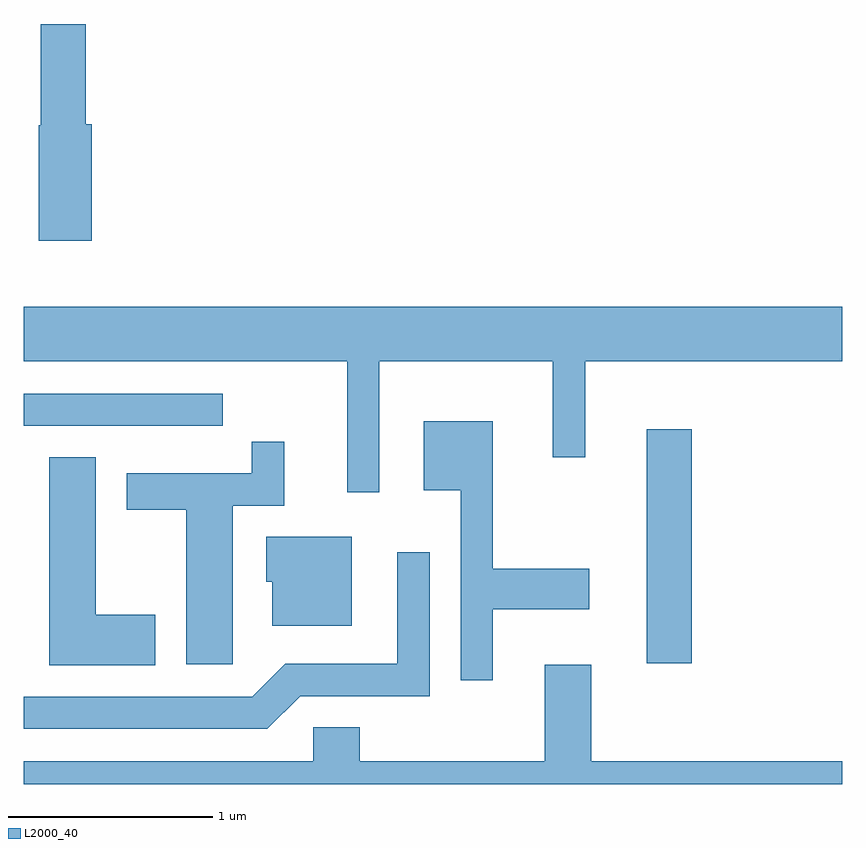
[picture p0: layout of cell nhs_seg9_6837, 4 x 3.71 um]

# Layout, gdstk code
import gdstk
lib = gdstk.Library(unit=1e-6, precision=1e-09)
def R(c, l, rs):  # rectangles x0, y0, x1, y1
    for r in rs: c.add(gdstk.rectangle(r[:2], r[2:], *l))
def P(c, l, *ps):  # polygons
    for p in ps: c.add(gdstk.Polygon(p, *l))
L2000_40 = (2000, 40)

nhs_seg9_6837 = lib.new_cell('nhs_seg9_6837')
R(nhs_seg9_6837, L2000_40, [(390.656,1977.021,390.874,1978.164), (387.611,1978.181,388.583,1978.339)])
P(nhs_seg9_6837, L2000_40, [(387.944,1979.654),(387.914,1979.654),(387.914,1980.144),(387.696,1980.144),(387.696,1979.65),(387.686,1979.65),(387.686,1979.086),(387.944,1979.086)],
  [(389.349,1978.496),(390.196,1978.496),(390.196,1978.028),(390.354,1978.028),(390.354,1978.496),(391.611,1978.496),(391.611,1978.764),(387.611,1978.764),(387.611,1978.496),(389.191,1978.496),(389.191,1977.858),(389.349,1977.858)],
  [(389.904,1977.286),(390.374,1977.286),(390.374,1977.484),(389.904,1977.484),(389.904,1978.204),(389.566,1978.204),(389.566,1977.866),(389.746,1977.866),(389.746,1976.938),(389.904,1976.938)],
  [(388.634,1977.791),(388.884,1977.791),(388.884,1978.103),(388.726,1978.103),(388.726,1977.949),(388.116,1977.949),(388.116,1977.771),(388.406,1977.771),(388.406,1977.016),(388.634,1977.016)],
  [(388.254,1977.259),(387.964,1977.259),(387.964,1978.029),(387.736,1978.029),(387.736,1977.011),(388.254,1977.011)],
  [(389.214,1977.639),(388.796,1977.639),(388.796,1977.421),(388.826,1977.421),(388.826,1977.206),(389.214,1977.206)],
  [(388.962,1976.861),(389.594,1976.861),(389.594,1977.563),(389.436,1977.563),(389.436,1977.019),(388.889,1977.019),(388.729,1976.859),(387.611,1976.859),(387.611,1976.701),(388.802,1976.701)],
  [(391.611,1976.544),(390.384,1976.544),(390.384,1977.014),(390.156,1977.014),(390.156,1976.544),(389.254,1976.544),(389.254,1976.709),(389.026,1976.709),(389.026,1976.544),(387.611,1976.544),(387.611,1976.432),(391.611,1976.432)])

lib.write_gds('nhs_seg9_6837.gds')
